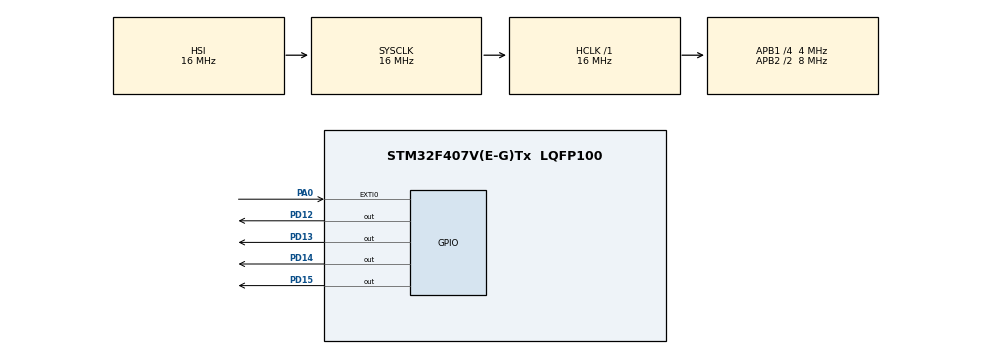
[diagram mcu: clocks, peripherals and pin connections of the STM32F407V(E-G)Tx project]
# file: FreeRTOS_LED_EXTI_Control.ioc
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FREERTOS.Tasks01=Led,2,128,LedFlashTask,Default,NULL,Dynamic,NULL,NULL
Mcu.Family=STM32F4
Mcu.Name=STM32F407V(E-G)Tx
Mcu.Package=LQFP100
NVIC.EXTI0_IRQn=true\:5\:0\:true\:false\:true\:true\:true\:true\:true
NVIC.PriorityGroup=NVIC_PRIORITYGROUP_4
PA0-WKUP.Signal=GPXTI0
PA13.Mode=Serial_Wire
PA13.Signal=SYS_JTMS-SWDIO
PA14.Mode=Serial_Wire
PA14.Signal=SYS_JTCK-SWCLK
PD12.Signal=GPIO_Output
PD13.Signal=GPIO_Output
PD14.Signal=GPIO_Output
PD15.Signal=GPIO_Output
ProjectManager.HeapSize=0x200
ProjectManager.StackSize=0x400
ProjectManager.TargetToolchain=STM32CubeIDE
RCC.48MHZClocksFreq_Value=168000000
RCC.AHBFreq_Value=16000000
RCC.APB1CLKDivider=RCC_HCLK_DIV4
RCC.APB1Freq_Value=4000000
RCC.APB1TimFreq_Value=8000000
RCC.APB2CLKDivider=RCC_HCLK_DIV2
RCC.APB2Freq_Value=8000000
RCC.APB2TimFreq_Value=16000000
RCC.CortexFreq_Value=16000000
RCC.HCLKFreq_Value=16000000
RCC.HSE_VALUE=25000000
RCC.HSI_VALUE=16000000
RCC.LSE_VALUE=32768
RCC.PLLM=8
RCC.PLLN=336
RCC.SYSCLKFreq_VALUE=16000000
RCC.VCOOutputFreq_Value=672000000
VP_FREERTOS_VS_CMSIS_V1.Mode=CMSIS_V1
board=custom

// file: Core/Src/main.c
/* USER CODE BEGIN Header */
/**
  ******************************************************************************
  * @file           : main.c
  * @brief          : Main program body
  ******************************************************************************
  * @attention
  *
  * Copyright (c) 2023 STMicroelectronics.
  * All rights reserved.
  *
  * This software is licensed under terms that can be found in the LICENSE file
  * in the root directory of this software component.
  * If no LICENSE file comes with this software, it is provided AS-IS.
  *
  ******************************************************************************
  */
/* USER CODE END Header */
#include "main.h"
#include "cmsis_os.h"

osThreadId LedHandle;
/* USER CODE BEGIN PV */

uint8_t buttonCount=0;

/* USER CODE END PV */

void SystemClock_Config(void);
static void MX_GPIO_Init(void);
void LedFlashTask(void const * argument);

int main(void)
{

  /* MCU Configuration--------------------------------------------------------*/

  /* Reset of all peripherals, Initializes the Flash interface and the Systick. */
  HAL_Init();

  /* Configure the system clock */
  SystemClock_Config();

  /* Initialize all configured peripherals */
  MX_GPIO_Init();

  /* Create the thread(s) */
  /* definition and creation of Led */
  osThreadDef(Led, LedFlashTask, osPriorityHigh, 0, 128);
  LedHandle = osThreadCreate(osThread(Led), NULL);

  /* Start scheduler */
  osKernelStart();

  /* We should never get here as control is now taken by the scheduler */
  /* Infinite loop */
  while (1)
  {

  }
}

void SystemClock_Config(void)
{
  RCC_OscInitTypeDef RCC_OscInitStruct = {0};
  RCC_ClkInitTypeDef RCC_ClkInitStruct = {0};

  /** Configure the main internal regulator output voltage
  */
  __HAL_RCC_PWR_CLK_ENABLE();
  __HAL_PWR_VOLTAGESCALING_CONFIG(PWR_REGULATOR_VOLTAGE_SCALE1);

  /** Initializes the RCC Oscillators according to the specified parameters
  * in the RCC_OscInitTypeDef structure.
  */
  RCC_OscInitStruct.OscillatorType = RCC_OSCILLATORTYPE_HSI;
  RCC_OscInitStruct.HSIState = RCC_HSI_ON;
  RCC_OscInitStruct.HSICalibrationValue = RCC_HSICALIBRATION_DEFAULT;
  RCC_OscInitStruct.PLL.PLLState = RCC_PLL_NONE;
  if (HAL_RCC_OscConfig(&RCC_OscInitStruct) != HAL_OK)
  {
    Error_Handler();
  }

  /** Initializes the CPU, AHB and APB buses clocks
  */
  RCC_ClkInitStruct.ClockType = RCC_CLOCKTYPE_HCLK|RCC_CLOCKTYPE_SYSCLK
                              |RCC_CLOCKTYPE_PCLK1|RCC_CLOCKTYPE_PCLK2;
  RCC_ClkInitStruct.SYSCLKSource = RCC_SYSCLKSOURCE_HSI;
  RCC_ClkInitStruct.AHBCLKDivider = RCC_SYSCLK_DIV1;
  RCC_ClkInitStruct.APB1CLKDivider = RCC_HCLK_DIV4;
  RCC_ClkInitStruct.APB2CLKDivider = RCC_HCLK_DIV2;

  if (HAL_RCC_ClockConfig(&RCC_ClkInitStruct, FLASH_LATENCY_0) != HAL_OK)
  {
    Error_Handler();
  }
}

static void MX_GPIO_Init(void)
{
  GPIO_InitTypeDef GPIO_InitStruct = {0};

  /* GPIO Ports Clock Enable */
  __HAL_RCC_GPIOA_CLK_ENABLE();
  __HAL_RCC_GPIOD_CLK_ENABLE();

  /*Configure GPIO pin Output Level */
  HAL_GPIO_WritePin(GPIOD, GPIO_PIN_12|GPIO_PIN_13|GPIO_PIN_14|GPIO_PIN_15, GPIO_PIN_RESET);

  /*Configure GPIO pin : PA0 */
  GPIO_InitStruct.Pin = GPIO_PIN_0;
  GPIO_InitStruct.Mode = GPIO_MODE_IT_RISING;
  GPIO_InitStruct.Pull = GPIO_NOPULL;
  HAL_GPIO_Init(GPIOA, &GPIO_InitStruct);

  /*Configure GPIO pins : PD12 PD13 PD14 PD15 */
  GPIO_InitStruct.Pin = GPIO_PIN_12|GPIO_PIN_13|GPIO_PIN_14|GPIO_PIN_15;
  GPIO_InitStruct.Mode = GPIO_MODE_OUTPUT_PP;
  GPIO_InitStruct.Pull = GPIO_NOPULL;
  GPIO_InitStruct.Speed = GPIO_SPEED_FREQ_LOW;
  HAL_GPIO_Init(GPIOD, &GPIO_InitStruct);

  /* EXTI interrupt init*/
  HAL_NVIC_SetPriority(EXTI0_IRQn, 5, 0);
  HAL_NVIC_EnableIRQ(EXTI0_IRQn);

}

void LedFlashTask(void const * argument)
{
  /* USER CODE BEGIN 5 */
  /* Infinite loop */
  for(;;)
  {
	  if(buttonCount == 0)
	  {
		HAL_GPIO_WritePin(GPIOD, GPIO_PIN_12 | GPIO_PIN_13 | GPIO_PIN_14 | GPIO_PIN_15, GPIO_PIN_RESET);
	  }
	  else if(buttonCount == 1)
	  {
		HAL_GPIO_TogglePin(GPIOD, GPIO_PIN_12 | GPIO_PIN_13 | GPIO_PIN_14 | GPIO_PIN_15);
		osDelay(1000);
	  }
	  else if(buttonCount == 2)
	  {
	  	HAL_GPIO_TogglePin(GPIOD, GPIO_PIN_12 | GPIO_PIN_13 | GPIO_PIN_14 | GPIO_PIN_15);
	  	osDelay(750);
	  }
	  else if(buttonCount == 3)
	  {
	  	HAL_GPIO_TogglePin(GPIOD, GPIO_PIN_12 | GPIO_PIN_13 | GPIO_PIN_14 | GPIO_PIN_15);
	  	osDelay(500);
	  }
	  else if(buttonCount == 4)
	  {
	  	HAL_GPIO_TogglePin(GPIOD, GPIO_PIN_12 | GPIO_PIN_13 | GPIO_PIN_14 | GPIO_PIN_15);
	  	osDelay(250);
	  }

  }
  /* USER CODE END 5 */
}

void Error_Handler(void)
{
  __disable_irq();
  while (1)
  {
  }
}
